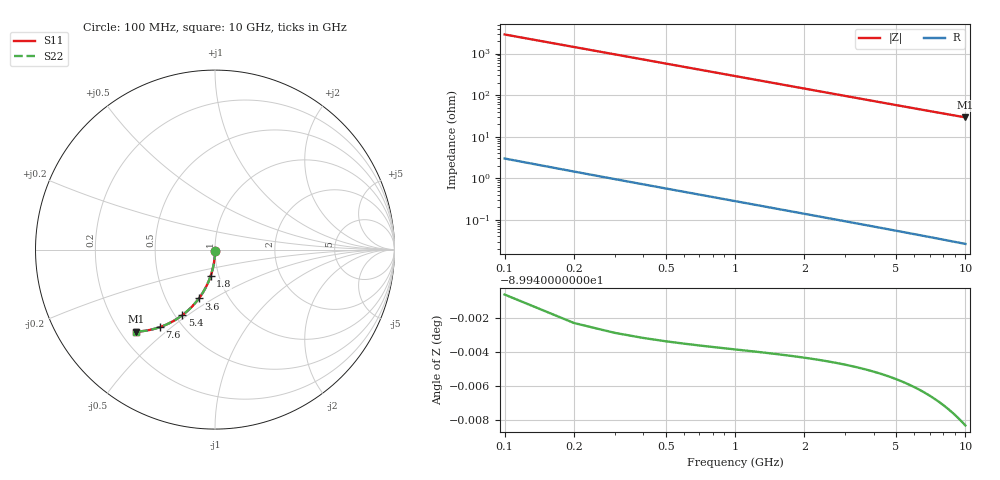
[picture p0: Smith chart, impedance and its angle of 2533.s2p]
# Hz S RI R 50.00
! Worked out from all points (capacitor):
!   100 points, 100 MHz to 10 GHz, reference 50 ohm
!   read as one part in shunt: C = 553 fF near 100 MHz
!   lowest |Z| = 29.2 ohm at 10 GHz (marker M1)
!   S11 on the Smith chart (normalised r, x): 100 MHz: 1.00, -0.02; 1.8 GHz: 0.91, -0.27; 3.6 GHz: 0.73, -0.43; 5.4 GHz: 0.54, -0.48; 7.6 GHz: 0.38, -0.46; 10 GHz: 0.26, -0.40
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1e8  1.34e-06 -0.0083  0.9998 -0.00906  0.9998 -0.00906  1.34e-06 -0.0083
2e8  -0.000232 -0.0166  0.9996 -0.0181  0.9996 -0.0181  -0.000232 -0.0166
3e8  -0.000616 -0.0249  0.9992 -0.0272  0.9992 -0.0272  -0.000616 -0.0249
4e8  -0.00115 -0.0332  0.9987 -0.0362  0.9987 -0.0362  -0.00115 -0.0332
5e8  -0.00183 -0.0414  0.998 -0.0452  0.998 -0.0452  -0.00183 -0.0414
6e8  -0.00267 -0.0497  0.9971 -0.0542  0.9971 -0.0542  -0.00267 -0.0497
8e8  -0.00478 -0.0661  0.995 -0.0722  0.995 -0.0722  -0.00478 -0.0661
1.1e9  -0.00904 -0.0905  0.9907 -0.0989  0.9907 -0.0989  -0.00904 -0.0905
1.4e9  -0.0146 -0.1146  0.9852 -0.1252  0.9852 -0.1252  -0.0146 -0.1146
1.8e9  -0.0239 -0.1459  0.9758 -0.1596  0.9758 -0.1596  -0.0239 -0.1459
2.1e9  -0.0323 -0.1688  0.9674 -0.1847  0.9674 -0.1847  -0.0323 -0.1688
2.5e9  -0.0452 -0.1982  0.9544 -0.2172  0.9544 -0.2172  -0.0452 -0.1982
2.9e9  -0.06 -0.2263  0.9396 -0.2484  0.9396 -0.2484  -0.06 -0.2263
3.4e9  -0.0807 -0.2594  0.9187 -0.2853  0.9187 -0.2853  -0.0807 -0.2594
3.6e9  -0.0897 -0.2719  0.9097 -0.2994  0.9097 -0.2994  -0.0897 -0.2719
4.3e9  -0.1235 -0.3125  0.8758 -0.3454  0.8758 -0.3454  -0.1235 -0.3125
5.1e9  -0.1658 -0.3523  0.8332 -0.3914  0.8332 -0.3914  -0.1658 -0.3523
5.4e9  -0.1824 -0.3654  0.8166 -0.4068  0.8166 -0.4068  -0.1824 -0.3654
6.7e9  -0.2566 -0.4109  0.7418 -0.4625  0.7418 -0.4625  -0.2566 -0.4109
7.6e9  -0.3084 -0.4323  0.6897 -0.4911  0.6897 -0.4911  -0.3084 -0.4323
8.4e9  -0.3535 -0.4453  0.6442 -0.5105  0.6442 -0.5105  -0.3535 -0.4453
1e10  -0.4384 -0.4568  0.5584 -0.535  0.5584 -0.535  -0.4384 -0.4568
